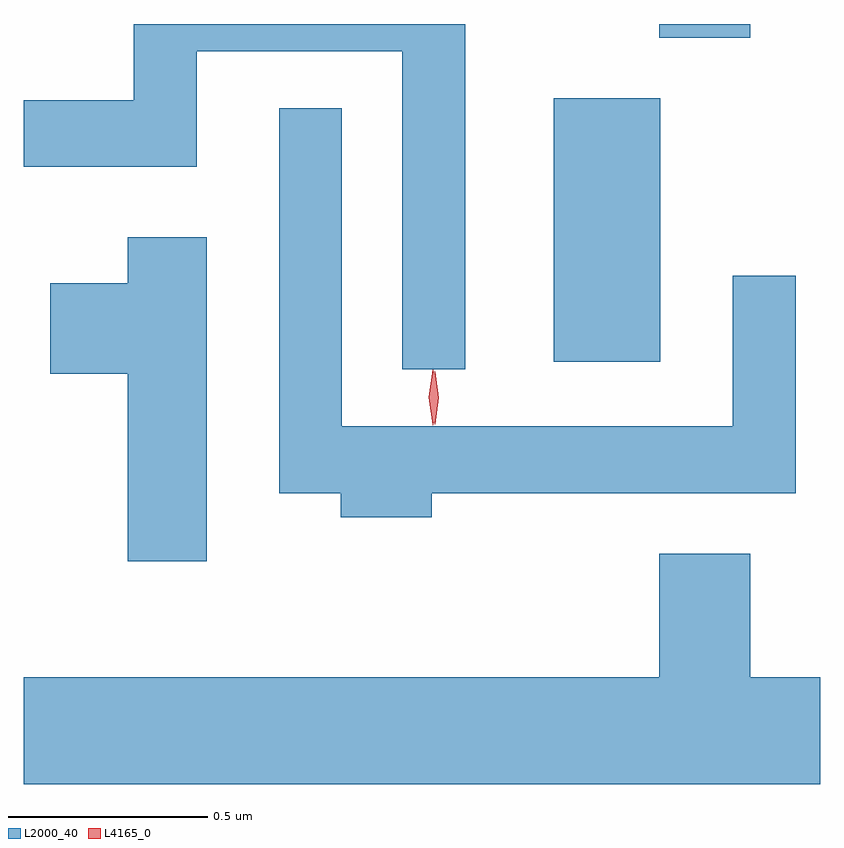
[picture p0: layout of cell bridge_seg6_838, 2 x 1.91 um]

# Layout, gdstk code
import gdstk
lib = gdstk.Library(unit=1e-6, precision=1e-09)
def R(c, l, rs):  # rectangles x0, y0, x1, y1
    for r in rs: c.add(gdstk.rectangle(r[:2], r[2:], *l))
def P(c, l, *ps):  # polygons
    for p in ps: c.add(gdstk.Polygon(p, *l))
L2000_40 = (2000, 40)
L4165_0 = (4165, 0)

bridge_seg6_838 = lib.new_cell('bridge_seg6_838')
R(bridge_seg6_838, L2000_40, [(547.516,1597.716,547.784,1598.379), (547.781,1598.531,548.009,1598.565)])
P(bridge_seg6_838, L2000_40, [(547.294,1598.565),(546.461,1598.565),(546.461,1598.374),(546.185,1598.374),(546.185,1598.206),(546.619,1598.206),(546.619,1598.496),(547.136,1598.496),(547.136,1597.698),(547.294,1597.698)],
  [(547.209,1597.386),(548.124,1597.386),(548.124,1597.933),(547.966,1597.933),(547.966,1597.554),(546.984,1597.554),(546.984,1598.353),(546.826,1598.353),(546.826,1597.386),(546.981,1597.386),(546.981,1597.326),(547.209,1597.326)],
  [(546.644,1598.029),(546.446,1598.029),(546.446,1597.914),(546.251,1597.914),(546.251,1597.686),(546.446,1597.686),(546.446,1597.216),(546.644,1597.216)],
  [(548.185,1596.924),(548.009,1596.924),(548.009,1597.234),(547.781,1597.234),(547.781,1596.924),(546.185,1596.924),(546.185,1596.656),(548.185,1596.656)])
P(bridge_seg6_838, L4165_0, [(547.217,1597.56),(547.217,1597.56),(547.207,1597.626),(547.217,1597.692),(547.217,1597.693),(547.218,1597.692),(547.227,1597.626),(547.218,1597.56)],
  [(547.212,1597.557),(547.212,1597.558),(547.202,1597.627),(547.212,1597.696),(547.212,1597.696),(547.213,1597.696),(547.222,1597.627),(547.213,1597.558)])

lib.write_gds('bridge_seg6_838.gds')
